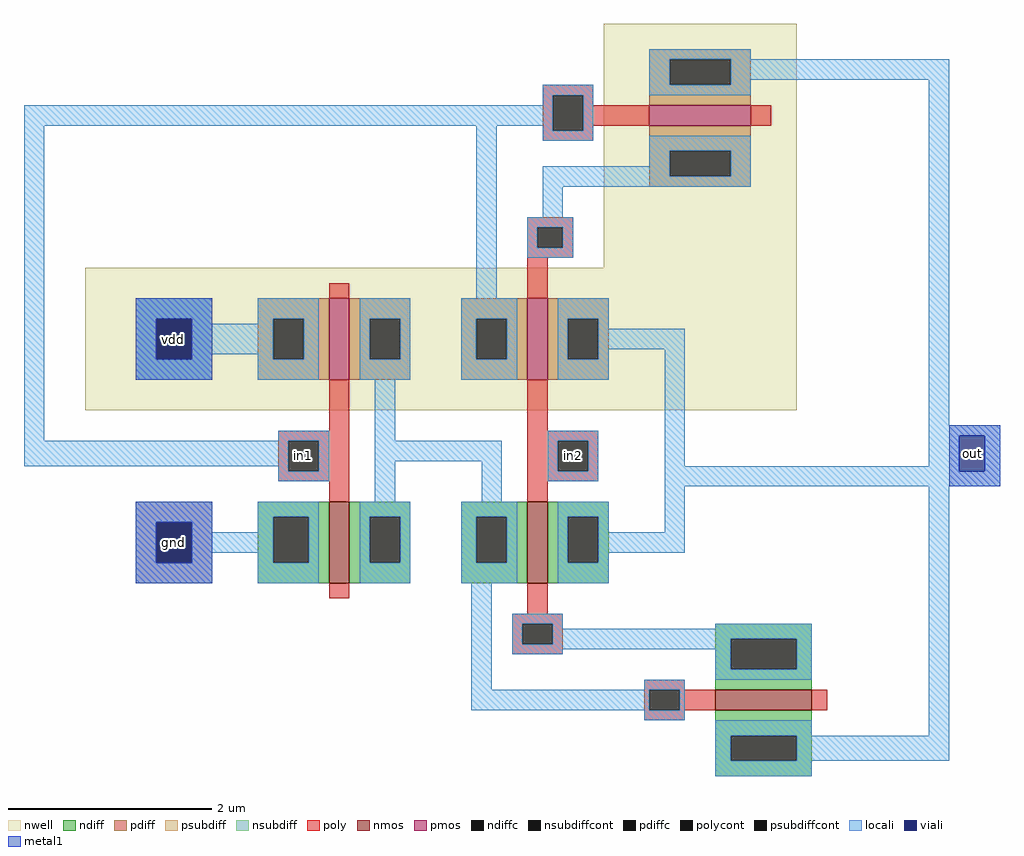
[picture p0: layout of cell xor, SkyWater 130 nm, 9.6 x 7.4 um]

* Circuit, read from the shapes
.subckt xor gnd in1 in2 out vdd
XM1 n1 in1 gnd gnd sky130_fd_pr__nfet_01v8 w=0.8 l=0.2
XM2 out in2 n1 gnd sky130_fd_pr__nfet_01v8 w=0.8 l=0.2
XM3 in2 n1 out gnd sky130_fd_pr__nfet_01v8 w=0.95 l=0.2
XM4 n1 in1 vdd vdd sky130_fd_pr__pfet_01v8 w=0.8 l=0.2
XM5 out in2 in1 vdd sky130_fd_pr__pfet_01v8 w=0.8 l=0.2
XM6 out in1 in2 vdd sky130_fd_pr__pfet_01v8 w=1 l=0.2
.ends

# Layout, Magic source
magic #  THIS IS XOR GATE!!
tech sky130A
<< nwell >>
rect 240 75 430 315
rect -270 -65 430 75
<< nmos >>
rect -30 -235 -10 -155
rect 165 -235 185 -155
rect 350 -360 445 -340
<< pmos >>
rect 285 215 385 235
rect -30 -35 -10 45
rect 165 -35 185 45
<< ndiff >>
rect -100 -170 -30 -155
rect -100 -215 -85 -170
rect -50 -215 -30 -170
rect -100 -235 -30 -215
rect -10 -170 50 -155
rect -10 -215 10 -170
rect 40 -215 50 -170
rect -10 -235 50 -215
rect 100 -170 165 -155
rect 100 -215 115 -170
rect 145 -215 165 -170
rect 100 -235 165 -215
rect 185 -170 245 -155
rect 185 -215 205 -170
rect 235 -215 245 -170
rect 185 -235 245 -215
rect 350 -290 445 -275
rect 350 -320 365 -290
rect 430 -320 445 -290
rect 350 -340 445 -320
rect 350 -385 445 -360
rect 350 -410 365 -385
rect 430 -410 445 -385
rect 350 -425 445 -410
<< pdiff >>
rect 285 280 385 290
rect 285 255 305 280
rect 365 255 385 280
rect 285 235 385 255
rect 285 190 385 215
rect 285 165 305 190
rect 365 165 385 190
rect 285 155 385 165
rect -100 25 -30 45
rect -100 -15 -85 25
rect -55 -15 -30 25
rect -100 -35 -30 -15
rect -10 25 50 45
rect -10 -15 10 25
rect 40 -15 50 25
rect -10 -35 50 -15
rect 100 25 165 45
rect 100 -15 115 25
rect 145 -15 165 25
rect 100 -35 165 -15
rect 185 25 245 45
rect 185 -15 205 25
rect 235 -15 245 25
rect 185 -35 245 -15
<< ndiffc >>
rect -85 -215 -50 -170
rect 10 -215 40 -170
rect 115 -215 145 -170
rect 205 -215 235 -170
rect 365 -320 430 -290
rect 365 -410 430 -385
<< pdiffc >>
rect 305 255 365 280
rect 305 165 365 190
rect -85 -15 -55 25
rect 10 -15 40 25
rect 115 -15 145 25
rect 205 -15 235 25
<< psubdiff >>
rect -220 -175 -145 -155
rect -220 -215 -200 -175
rect -165 -215 -145 -175
rect -220 -235 -145 -215
<< nsubdiff >>
rect -220 25 -145 45
rect -220 -15 -200 25
rect -165 -15 -145 25
rect -220 -35 -145 -15
<< psubdiffcont >>
rect -200 -215 -165 -175
<< nsubdiffcont >>
rect -200 -15 -165 25
<< poly >>
rect 180 245 230 255
rect 180 210 190 245
rect 220 235 230 245
rect 220 215 285 235
rect 385 215 405 235
rect 220 210 230 215
rect 180 200 230 210
rect 165 115 210 125
rect 165 95 175 115
rect 200 95 210 115
rect 165 85 210 95
rect -30 45 -10 60
rect 165 45 185 85
rect -30 -85 -10 -35
rect -80 -95 -10 -85
rect -80 -125 -70 -95
rect -40 -125 -10 -95
rect -80 -135 -10 -125
rect -30 -155 -10 -135
rect 165 -85 185 -35
rect 165 -95 235 -85
rect 165 -125 195 -95
rect 225 -125 235 -95
rect 165 -135 235 -125
rect 165 -155 185 -135
rect -30 -250 -10 -235
rect 165 -265 185 -235
rect 150 -275 200 -265
rect 150 -295 160 -275
rect 190 -295 200 -275
rect 150 -305 200 -295
rect 280 -340 320 -330
rect 280 -360 285 -340
rect 315 -360 350 -340
rect 445 -360 460 -340
rect 280 -370 320 -360
<< polycont >>
rect 190 210 220 245
rect 175 95 200 115
rect -70 -125 -40 -95
rect 195 -125 225 -95
rect 160 -295 190 -275
rect 285 -360 315 -340
<< locali >>
rect 285 280 385 290
rect 285 255 305 280
rect 365 260 580 280
rect 365 255 385 260
rect 180 245 230 255
rect 285 245 385 255
rect 180 235 190 245
rect -330 215 190 235
rect -330 -95 -310 215
rect 115 45 135 215
rect 180 210 190 215
rect 220 210 230 245
rect 180 200 230 210
rect 285 190 385 205
rect 285 175 305 190
rect 180 165 305 175
rect 365 165 385 190
rect 180 155 385 165
rect 180 125 200 155
rect 165 115 210 125
rect 165 95 175 115
rect 200 95 210 115
rect 165 85 210 95
rect -220 25 -145 45
rect -220 -15 -200 25
rect -165 20 -145 25
rect -100 25 -40 45
rect -100 20 -85 25
rect -165 -10 -85 20
rect -165 -15 -145 -10
rect -220 -35 -145 -15
rect -100 -15 -85 -10
rect -55 -15 -40 25
rect -100 -35 -40 -15
rect 0 25 50 45
rect 0 -15 10 25
rect 40 -15 50 25
rect 0 -35 50 -15
rect 100 25 155 45
rect 100 -15 115 25
rect 145 -15 155 25
rect 100 -35 155 -15
rect 195 25 245 45
rect 195 -15 205 25
rect 235 15 245 25
rect 235 -5 320 15
rect 235 -15 245 -5
rect 195 -35 245 -15
rect -80 -95 -30 -85
rect -330 -120 -70 -95
rect -80 -125 -70 -120
rect -40 -125 -30 -95
rect -80 -135 -30 -125
rect 15 -95 35 -35
rect 185 -95 235 -85
rect 15 -115 140 -95
rect 15 -155 35 -115
rect 120 -155 140 -115
rect 185 -125 195 -95
rect 225 -125 235 -95
rect 185 -135 235 -125
rect 300 -120 320 -5
rect 560 -80 580 260
rect 560 -90 630 -80
rect 560 -120 590 -90
rect 300 -125 590 -120
rect 615 -125 630 -90
rect 300 -140 630 -125
rect -220 -175 -145 -155
rect -220 -215 -200 -175
rect -165 -185 -145 -175
rect -100 -170 -40 -155
rect -100 -185 -85 -170
rect -165 -205 -85 -185
rect -165 -215 -145 -205
rect -220 -235 -145 -215
rect -100 -215 -85 -205
rect -50 -215 -40 -170
rect -100 -235 -40 -215
rect 0 -170 50 -155
rect 0 -215 10 -170
rect 40 -215 50 -170
rect 0 -235 50 -215
rect 100 -170 155 -155
rect 100 -215 115 -170
rect 145 -215 155 -170
rect 100 -235 155 -215
rect 195 -170 245 -155
rect 195 -215 205 -170
rect 235 -185 245 -170
rect 300 -185 320 -140
rect 235 -205 320 -185
rect 235 -215 245 -205
rect 195 -235 245 -215
rect 110 -340 130 -235
rect 150 -275 200 -265
rect 150 -295 160 -275
rect 190 -280 200 -275
rect 350 -280 445 -275
rect 190 -290 445 -280
rect 190 -295 365 -290
rect 150 -300 365 -295
rect 150 -305 200 -300
rect 350 -320 365 -300
rect 430 -320 445 -290
rect 350 -330 445 -320
rect 280 -340 320 -330
rect 110 -360 285 -340
rect 315 -360 320 -340
rect 280 -370 320 -360
rect 350 -385 445 -370
rect 560 -385 580 -140
rect 350 -410 365 -385
rect 430 -410 580 -385
rect 350 -425 445 -410
<< viali >>
rect -200 -15 -165 25
rect 590 -125 615 -90
rect -200 -215 -165 -175
<< metal1 >>
rect -220 25 -145 45
rect -220 -15 -200 25
rect -165 -15 -145 25
rect -220 -35 -145 -15
rect 580 -90 630 -80
rect 580 -125 590 -90
rect 615 -125 630 -90
rect 580 -140 630 -125
rect -220 -175 -145 -155
rect -220 -215 -200 -175
rect -165 -215 -145 -175
rect -220 -235 -145 -215
<< labels >>
rlabel nwell -200 -15 -165 25 1 vdd
rlabel metal1 -200 -215 -165 -175 1 gnd
rlabel polycont -70 -125 -40 -95 1 in1
rlabel polycont 195 -125 225 -95 1 in2
rlabel viali 590 -125 615 -90 1 out
<< end >>
